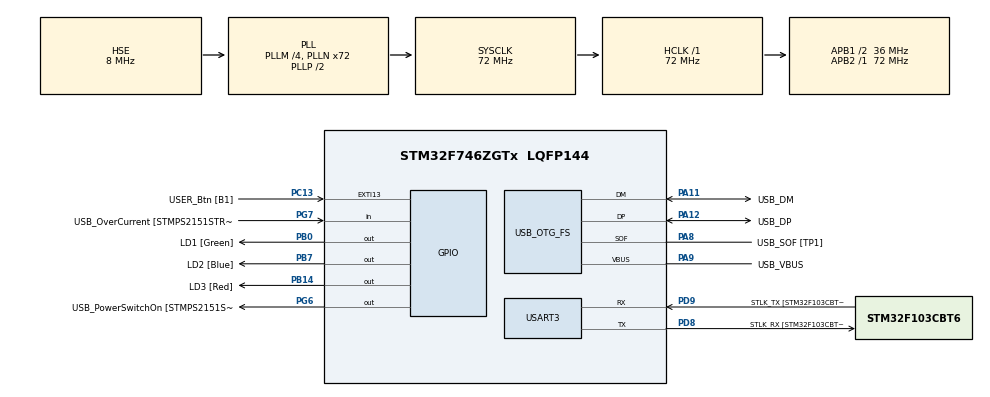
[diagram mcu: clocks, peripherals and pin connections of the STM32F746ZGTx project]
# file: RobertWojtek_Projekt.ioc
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Mcu.Family=STM32F7
Mcu.Name=STM32F746ZGTx
Mcu.Package=LQFP144
NVIC.PriorityGroup=NVIC_PRIORITYGROUP_4
PA1.GPIO_Label=RMII_REF_CLK [LAN8742A-CZ-TR_REFCLK0]
PA1.Signal=ETH_REF_CLK
PA10.GPIO_Label=USB_ID
PA10.Signal=USB_OTG_FS_ID
PA11.GPIO_Label=USB_DM
PA11.Mode=Device_Only
PA11.Signal=USB_OTG_FS_DM
PA12.GPIO_Label=USB_DP
PA12.Mode=Device_Only
PA12.Signal=USB_OTG_FS_DP
PA13.GPIO_Label=TMS
PA13.Mode=Serial_Wire
PA13.Signal=SYS_JTMS-SWDIO
PA14.GPIO_Label=TCK
PA14.Mode=Serial_Wire
PA14.Signal=SYS_JTCK-SWCLK
PA2.GPIO_Label=RMII_MDIO [LAN8742A-CZ-TR_MDIO]
PA2.Signal=ETH_MDIO
PA7.GPIO_Label=RMII_CRS_DV [LAN8742A-CZ-TR_CRS_DV]
PA7.Signal=ETH_CRS_DV
PA8.GPIO_Label=USB_SOF [TP1]
PA8.Mode=Activate_SOF_FS
PA8.Signal=USB_OTG_FS_SOF
PA9.GPIO_Label=USB_VBUS
PA9.Mode=Activate_VBUS
PA9.Signal=USB_OTG_FS_VBUS
PB0.GPIO_Label=LD1 [Green]
PB0.Signal=GPIO_Output
PB13.GPIO_Label=RMII_TXD1 [LAN8742A-CZ-TR_TXD1]
PB13.Signal=ETH_TXD1
PB14.GPIO_Label=LD3 [Red]
PB14.Signal=GPIO_Output
PB3.GPIO_Label=SW0
PB3.Signal=SYS_JTDO-SWO
PB7.GPIO_Label=LD2 [Blue]
PB7.Signal=GPIO_Output
PC1.GPIO_Label=RMII_MDC [LAN8742A-CZ-TR_MDC]
PC1.Signal=ETH_MDC
PC13.GPIO_Label=USER_Btn [B1]
PC13.Signal=GPXTI13
PC14/OSC32_IN.Mode=LSE-External-Oscillator
PC14/OSC32_IN.Signal=RCC_OSC32_IN
PC15/OSC32_OUT.Mode=LSE-External-Oscillator
PC15/OSC32_OUT.Signal=RCC_OSC32_OUT
PC4.GPIO_Label=RMII_RXD0 [LAN8742A-CZ-TR_RXD0]
PC4.Signal=ETH_RXD0
PC5.GPIO_Label=RMII_RXD1 [LAN8742A-CZ-TR_RXD1]
PC5.Signal=ETH_RXD1
PD8.GPIO_Label=STLK_RX [STM32F103CBT6_PA3]
PD8.Mode=Asynchronous
PD8.Signal=USART3_TX
PD9.GPIO_Label=STLK_TX [STM32F103CBT6_PA2]
PD9.Mode=Asynchronous
PD9.Signal=USART3_RX
PG11.GPIO_Label=RMII_TX_EN [LAN8742A-CZ-TR_TXEN]
PG11.Signal=ETH_TX_EN
PG13.GPIO_Label=RMII_TXD0 [LAN8742A-CZ-TR_TXD0]
PG13.Signal=ETH_TXD0
PG6.GPIO_Label=USB_PowerSwitchOn [STMPS2151STR_EN]
PG6.Signal=GPIO_Output
PG7.GPIO_Label=USB_OverCurrent [STMPS2151STR_FAULT]
PG7.Signal=GPIO_Input
PH0/OSC_IN.GPIO_Label=MCO [STM32F103CBT6_PA8]
PH0/OSC_IN.Mode=HSE-External-Clock-Source
PH0/OSC_IN.Signal=RCC_OSC_IN
PH1/OSC_OUT.Mode=HSE-External-Clock-Source
PH1/OSC_OUT.Signal=RCC_OSC_OUT
ProjectManager.HeapSize=0x200
ProjectManager.StackSize=0x400
ProjectManager.TargetToolchain=STM32CubeIDE
RCC.48MHZClocksFreq_Value=24000000
RCC.AHBFreq_Value=72000000
RCC.APB1CLKDivider=RCC_HCLK_DIV2
RCC.APB1Freq_Value=36000000
RCC.APB1TimFreq_Value=72000000
RCC.APB2Freq_Value=72000000
RCC.APB2TimFreq_Value=72000000
RCC.CortexFreq_Value=72000000
RCC.HCLKFreq_Value=72000000
RCC.HSE_VALUE=8000000
RCC.HSI_VALUE=16000000
RCC.PLLM=4
RCC.PLLMUL=RCC_PLL_MUL9
RCC.PLLN=72
RCC.PLLQ=3
RCC.PRESCALERUSB=RCC_USBCLKSOURCE_PLL_DIV1_5
RCC.SYSCLKFreq_VALUE=72000000
RCC.SYSCLKSource=RCC_SYSCLKSOURCE_PLLCLK
RCC.SYSCLKSourceVirtual=RCC_SYSCLKSOURCE_PLLCLK
RCC.USBFreq_Value=48000000
RCC.VCOOutputFreq_Value=144000000
USART3.VirtualMode-Asynchronous=VM_ASYNC
USB_OTG_FS.VirtualMode=Device_Only
board=NUCLEO-F746ZG

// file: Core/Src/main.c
/* USER CODE BEGIN Header */
/**
  ******************************************************************************
  * @file           : main.c
  * @brief          : Main program body
  ******************************************************************************
  * @attention
  *
  * Copyright (c) 2023 STMicroelectronics.
  * All rights reserved.
  *
  * This software is licensed under terms that can be found in the LICENSE file
  * in the root directory of this software component.
  * If no LICENSE file comes with this software, it is provided AS-IS.
  *
  ******************************************************************************
  */
/* USER CODE END Header */
#include "main.h"

UART_HandleTypeDef huart3;

PCD_HandleTypeDef hpcd_USB_OTG_FS;

/* USER CODE BEGIN PV */
int set_value;
/* USER CODE END PV */

void SystemClock_Config(void);
static void MX_GPIO_Init(void);
static void MX_USART3_UART_Init(void);
static void MX_USB_OTG_FS_PCD_Init(void);

/* USER CODE BEGIN 0 */
#define COUNTOF(_BUFF_) (sizeof(_BUFF_) / sizeof(*(_BUFF_)))
#define RESPOND(str) transmit(str, COUNTOF(str))

void transmit(char* stream, size_t length)
{
	HAL_UART_Transmit(&huart3, (uint8_t*)stream, length-1, 500);
	HAL_GPIO_WritePin(LD3_GPIO_Port, LD3_Pin, GPIO_PIN_SET);
	HAL_Delay(50);
	HAL_GPIO_WritePin(LD3_GPIO_Port, LD3_Pin, GPIO_PIN_RESET);
}

/* USER CODE END 0 */

int main(void)
{

  /* MCU Configuration--------------------------------------------------------*/

  /* Reset of all peripherals, Initializes the Flash interface and the Systick. */
  HAL_Init();

  /* Configure the system clock */
  SystemClock_Config();

  /* Initialize all configured peripherals */
  MX_GPIO_Init();
  MX_USART3_UART_Init();
  MX_USB_OTG_FS_PCD_Init();

  /* Infinite loop */
  /* USER CODE BEGIN WHILE */
  while (1)
  {
	  // TODO: FIX this shit, it break if the data is too long
	  uint8_t key[4];
	  HAL_StatusTypeDef status = HAL_UART_Receive(&huart3, key, 4, 100);

	  if (status == HAL_OK)
	  {
		  RESPOND("Received ");
		  transmit(key, 5);
		  RESPOND("\n\r");

		  if (key[0] == 'S')
		  {
			  RESPOND("Trying to set the temperature\n\r");
			  set_value = key[1] - '0' * 100 + key[2] - '0' * 10 + key[3] - '0' + 5184;
		  }
	  }

    /* USER CODE END WHILE */

  }
}

void SystemClock_Config(void)
{
  RCC_OscInitTypeDef RCC_OscInitStruct = {0};
  RCC_ClkInitTypeDef RCC_ClkInitStruct = {0};

  /** Configure LSE Drive Capability
  */
  HAL_PWR_EnableBkUpAccess();
  /** Configure the main internal regulator output voltage
  */
  __HAL_RCC_PWR_CLK_ENABLE();
  __HAL_PWR_VOLTAGESCALING_CONFIG(PWR_REGULATOR_VOLTAGE_SCALE3);
  /** Initializes the RCC Oscillators according to the specified parameters
  * in the RCC_OscInitTypeDef structure.
  */
  RCC_OscInitStruct.OscillatorType = RCC_OSCILLATORTYPE_HSE;
  RCC_OscInitStruct.HSEState = RCC_HSE_BYPASS;
  RCC_OscInitStruct.PLL.PLLState = RCC_PLL_ON;
  RCC_OscInitStruct.PLL.PLLSource = RCC_PLLSOURCE_HSE;
  RCC_OscInitStruct.PLL.PLLM = 4;
  RCC_OscInitStruct.PLL.PLLN = 72;
  RCC_OscInitStruct.PLL.PLLP = RCC_PLLP_DIV2;
  RCC_OscInitStruct.PLL.PLLQ = 3;
  if (HAL_RCC_OscConfig(&RCC_OscInitStruct) != HAL_OK)
  {
    Error_Handler();
  }
  /** Initializes the CPU, AHB and APB buses clocks
  */
  RCC_ClkInitStruct.ClockType = RCC_CLOCKTYPE_HCLK|RCC_CLOCKTYPE_SYSCLK
                              |RCC_CLOCKTYPE_PCLK1|RCC_CLOCKTYPE_PCLK2;
  RCC_ClkInitStruct.SYSCLKSource = RCC_SYSCLKSOURCE_PLLCLK;
  RCC_ClkInitStruct.AHBCLKDivider = RCC_SYSCLK_DIV1;
  RCC_ClkInitStruct.APB1CLKDivider = RCC_HCLK_DIV2;
  RCC_ClkInitStruct.APB2CLKDivider = RCC_HCLK_DIV1;

  if (HAL_RCC_ClockConfig(&RCC_ClkInitStruct, FLASH_LATENCY_2) != HAL_OK)
  {
    Error_Handler();
  }
}

static void MX_USART3_UART_Init(void)
{

  huart3.Instance = USART3;
  huart3.Init.BaudRate = 115200;
  huart3.Init.WordLength = UART_WORDLENGTH_8B;
  huart3.Init.StopBits = UART_STOPBITS_1;
  huart3.Init.Parity = UART_PARITY_NONE;
  huart3.Init.Mode = UART_MODE_TX_RX;
  huart3.Init.HwFlowCtl = UART_HWCONTROL_NONE;
  huart3.Init.OverSampling = UART_OVERSAMPLING_16;
  huart3.Init.OneBitSampling = UART_ONE_BIT_SAMPLE_DISABLE;
  huart3.AdvancedInit.AdvFeatureInit = UART_ADVFEATURE_NO_INIT;
  if (HAL_UART_Init(&huart3) != HAL_OK)
  {
    Error_Handler();
  }

}

static void MX_USB_OTG_FS_PCD_Init(void)
{

  hpcd_USB_OTG_FS.Instance = USB_OTG_FS;
  hpcd_USB_OTG_FS.Init.dev_endpoints = 6;
  hpcd_USB_OTG_FS.Init.speed = PCD_SPEED_FULL;
  hpcd_USB_OTG_FS.Init.dma_enable = DISABLE;
  hpcd_USB_OTG_FS.Init.phy_itface = PCD_PHY_EMBEDDED;
  hpcd_USB_OTG_FS.Init.Sof_enable = ENABLE;
  hpcd_USB_OTG_FS.Init.low_power_enable = DISABLE;
  hpcd_USB_OTG_FS.Init.lpm_enable = DISABLE;
  hpcd_USB_OTG_FS.Init.vbus_sensing_enable = ENABLE;
  hpcd_USB_OTG_FS.Init.use_dedicated_ep1 = DISABLE;
  if (HAL_PCD_Init(&hpcd_USB_OTG_FS) != HAL_OK)
  {
    Error_Handler();
  }

}

static void MX_GPIO_Init(void)
{
  GPIO_InitTypeDef GPIO_InitStruct = {0};

  /* GPIO Ports Clock Enable */
  __HAL_RCC_GPIOC_CLK_ENABLE();
  __HAL_RCC_GPIOH_CLK_ENABLE();
  __HAL_RCC_GPIOA_CLK_ENABLE();
  __HAL_RCC_GPIOB_CLK_ENABLE();
  __HAL_RCC_GPIOD_CLK_ENABLE();
  __HAL_RCC_GPIOG_CLK_ENABLE();

  /*Configure GPIO pin Output Level */
  HAL_GPIO_WritePin(GPIOB, LD1_Pin|LD3_Pin|LD2_Pin, GPIO_PIN_RESET);

  /*Configure GPIO pin Output Level */
  HAL_GPIO_WritePin(USB_PowerSwitchOn_GPIO_Port, USB_PowerSwitchOn_Pin, GPIO_PIN_RESET);

  /*Configure GPIO pin : USER_Btn_Pin */
  GPIO_InitStruct.Pin = USER_Btn_Pin;
  GPIO_InitStruct.Mode = GPIO_MODE_IT_RISING;
  GPIO_InitStruct.Pull = GPIO_NOPULL;
  HAL_GPIO_Init(USER_Btn_GPIO_Port, &GPIO_InitStruct);

  /*Configure GPIO pins : RMII_MDC_Pin RMII_RXD0_Pin RMII_RXD1_Pin */
  GPIO_InitStruct.Pin = RMII_MDC_Pin|RMII_RXD0_Pin|RMII_RXD1_Pin;
  GPIO_InitStruct.Mode = GPIO_MODE_AF_PP;
  GPIO_InitStruct.Pull = GPIO_NOPULL;
  GPIO_InitStruct.Speed = GPIO_SPEED_FREQ_VERY_HIGH;
  GPIO_InitStruct.Alternate = GPIO_AF11_ETH;
  HAL_GPIO_Init(GPIOC, &GPIO_InitStruct);

  /*Configure GPIO pins : RMII_REF_CLK_Pin RMII_MDIO_Pin RMII_CRS_DV_Pin */
  GPIO_InitStruct.Pin = RMII_REF_CLK_Pin|RMII_MDIO_Pin|RMII_CRS_DV_Pin;
  GPIO_InitStruct.Mode = GPIO_MODE_AF_PP;
  GPIO_InitStruct.Pull = GPIO_NOPULL;
  GPIO_InitStruct.Speed = GPIO_SPEED_FREQ_VERY_HIGH;
  GPIO_InitStruct.Alternate = GPIO_AF11_ETH;
  HAL_GPIO_Init(GPIOA, &GPIO_InitStruct);

  /*Configure GPIO pins : LD1_Pin LD3_Pin LD2_Pin */
  GPIO_InitStruct.Pin = LD1_Pin|LD3_Pin|LD2_Pin;
  GPIO_InitStruct.Mode = GPIO_MODE_OUTPUT_PP;
  GPIO_InitStruct.Pull = GPIO_NOPULL;
  GPIO_InitStruct.Speed = GPIO_SPEED_FREQ_LOW;
  HAL_GPIO_Init(GPIOB, &GPIO_InitStruct);

  /*Configure GPIO pin : RMII_TXD1_Pin */
  GPIO_InitStruct.Pin = RMII_TXD1_Pin;
  GPIO_InitStruct.Mode = GPIO_MODE_AF_PP;
  GPIO_InitStruct.Pull = GPIO_NOPULL;
  GPIO_InitStruct.Speed = GPIO_SPEED_FREQ_VERY_HIGH;
  GPIO_InitStruct.Alternate = GPIO_AF11_ETH;
  HAL_GPIO_Init(RMII_TXD1_GPIO_Port, &GPIO_InitStruct);

  /*Configure GPIO pin : USB_PowerSwitchOn_Pin */
  GPIO_InitStruct.Pin = USB_PowerSwitchOn_Pin;
  GPIO_InitStruct.Mode = GPIO_MODE_OUTPUT_PP;
  GPIO_InitStruct.Pull = GPIO_NOPULL;
  GPIO_InitStruct.Speed = GPIO_SPEED_FREQ_LOW;
  HAL_GPIO_Init(USB_PowerSwitchOn_GPIO_Port, &GPIO_InitStruct);

  /*Configure GPIO pin : USB_OverCurrent_Pin */
  GPIO_InitStruct.Pin = USB_OverCurrent_Pin;
  GPIO_InitStruct.Mode = GPIO_MODE_INPUT;
  GPIO_InitStruct.Pull = GPIO_NOPULL;
  HAL_GPIO_Init(USB_OverCurrent_GPIO_Port, &GPIO_InitStruct);

  /*Configure GPIO pins : RMII_TX_EN_Pin RMII_TXD0_Pin */
  GPIO_InitStruct.Pin = RMII_TX_EN_Pin|RMII_TXD0_Pin;
  GPIO_InitStruct.Mode = GPIO_MODE_AF_PP;
  GPIO_InitStruct.Pull = GPIO_NOPULL;
  GPIO_InitStruct.Speed = GPIO_SPEED_FREQ_VERY_HIGH;
  GPIO_InitStruct.Alternate = GPIO_AF11_ETH;
  HAL_GPIO_Init(GPIOG, &GPIO_InitStruct);

}

void Error_Handler(void)
{
  __disable_irq();
  while (1)
  {
  }
}
